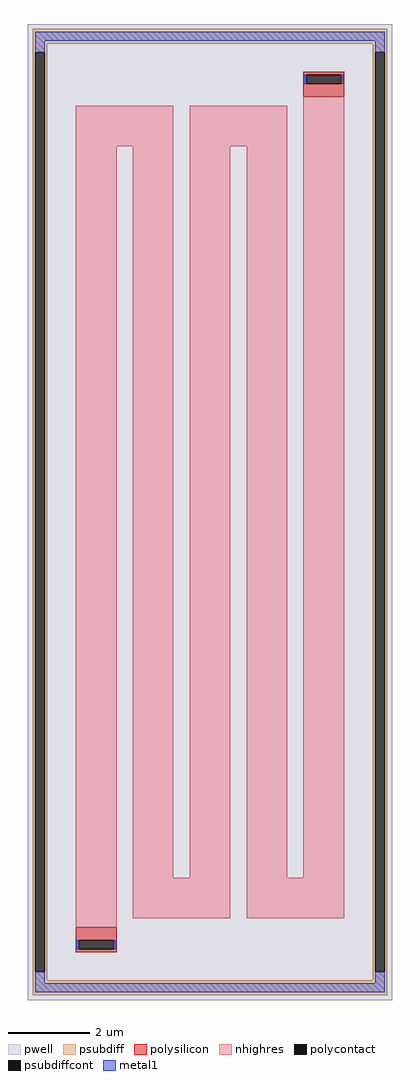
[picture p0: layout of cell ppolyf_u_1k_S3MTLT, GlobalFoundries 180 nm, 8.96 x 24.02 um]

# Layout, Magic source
magic
tech gf180mcuD
magscale 1 10
<< pwell >>
rect -896 -2402 896 2402
<< psubdiff >>
rect -872 2306 872 2378
rect -872 2262 -800 2306
rect -872 -2262 -859 2262
rect -813 -2262 -800 2262
rect 800 2262 872 2306
rect -872 -2306 -800 -2262
rect 800 -2262 813 2262
rect 859 -2262 872 2262
rect 800 -2306 872 -2262
rect -872 -2378 872 -2306
<< psubdiffcont >>
rect -859 -2262 -813 2262
rect 813 -2262 859 2262
<< polysilicon >>
rect 460 2153 660 2166
rect 460 2107 473 2153
rect 647 2107 660 2153
rect 460 2044 660 2107
rect -660 -2107 -460 -2044
rect -660 -2153 -647 -2107
rect -473 -2153 -460 -2107
rect -660 -2166 -460 -2153
<< polycontact >>
rect 473 2107 647 2153
rect -647 -2153 -473 -2107
<< nhighres >>
rect -660 1800 -180 2000
rect -660 -2044 -460 1800
rect -380 -1800 -180 1800
rect -100 1800 380 2000
rect -100 -1800 100 1800
rect -380 -2000 100 -1800
rect 180 -1800 380 1800
rect 460 -1800 660 2044
rect 180 -2000 660 -1800
<< metal1 >>
rect -859 2319 859 2365
rect -859 2262 -813 2319
rect 813 2262 859 2319
rect 462 2107 473 2153
rect 647 2107 658 2153
rect -658 -2153 -647 -2107
rect -473 -2153 -462 -2107
rect -859 -2319 -813 -2262
rect 813 -2319 859 -2262
rect -859 -2365 859 -2319
<< properties >>
string FIXED_BBOX -836 -2342 836 2342
string gencell ppolyf_u_1k
string library gf180mcu
string parameters w 1.0 l 20.0 m 1 nx 5 wmin 1.000 lmin 1.000 class resistor rho 1000 val 105.6k dummy 0 dw 0.0 term 0.0 sterm 0.0 caplen 0.4 snake 1 glc 1 grc 1 gtc 0 gbc 0 roverlap 0 endcov 100 full_metal 1 compatible {ppolyf_u_1k ppolyf_u_1k_6p0}
<< end >>
